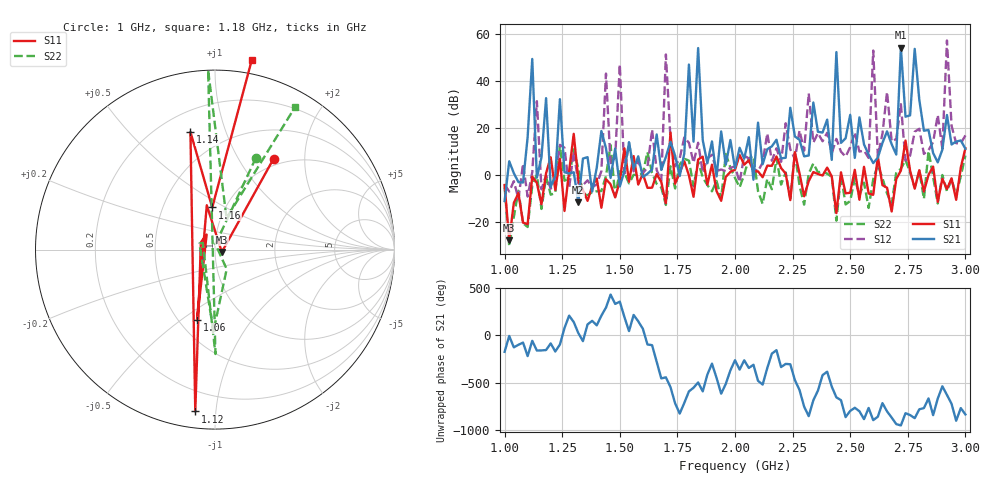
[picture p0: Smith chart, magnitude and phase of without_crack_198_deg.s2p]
# MHz S MA R 50
!  freq  S11  S21  S12  S22
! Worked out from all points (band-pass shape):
!   101 points, 1 GHz to 3 GHz, reference 50 ohm
!   highest |S21| = 54.03 dB at 2.72 GHz (marker M1); lowest = -11.8 dB at 1.32 GHz (marker M2)
!   |S21| within 3 dB of the highest: 1.838598 GHz to 1.841427 GHz (2.829 MHz wide, 0.154 % of centre); 2.439523 GHz to 2.440566 GHz (1.044 MHz wide, 0.0428 % of centre) (the widest 2 of 4)
!   lowest |S11| = -27.9 dB at 1.02 GHz (marker M3), VSWR 1.08, Z = 53.9 - j1.47 ohm
!   |S11| at or under -10 dB: 1.005 GHz to 1.05 GHz (44.8 MHz wide, 4.36 % of centre); 1.063 GHz to 1.111 GHz (47.48 MHz wide, 4.37 % of centre); 1.154 GHz to 1.164 GHz (9.558 MHz wide, 0.825 % of centre) (the widest 3 of 14)
!   |S22| runs from -30.4 to 12.6 dB; largest |S21 - S12| = 7.1e+02
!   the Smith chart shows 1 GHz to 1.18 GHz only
!   S11 on the Smith chart (normalised r, x): 1 GHz: 0.90, +1.43; 1.06 GHz: 0.61, -0.58; 1.12 GHz: 0.09, -0.88; 1.14 GHz: 0.32, +0.76; 1.16 GHz: 0.87, +0.43; 1.18 GHz: -0.09, +1.21
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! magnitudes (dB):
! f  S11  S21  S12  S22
! 1 GHz  -4.4  -11.2  -4.2  -5.0
! 1.02 GHz  -27.9  5.7  -7.2  -30.4
! 1.06 GHz  -7.8  -3.2  -10.3  -6.8
! 1.12 GHz  -0.8  49.2  1.1  -4.7
! 1.14 GHz  -3.5  -1.2  31.2  0.0
! 1.16 GHz  -12.6  7.4  -6.2  -14.6
! 1.18 GHz  0.6  32.5  -0.2  -0.8
! 1.32 GHz  -2.2  -11.8  -3.7  2.6
! 1.34 GHz  -6.5  6.9  -4.4  -8.1
! 1.5 GHz  -2.7  -5.0  46.9  1.5
! 1.52 GHz  11.2  1.6  0.5  0.9
! 1.68 GHz  -3.1  2.0  -2.6  -5.4
! 1.7 GHz  -12.1  7.6  51.1  -12.9
! 1.74 GHz  -3.8  8.1  3.6  -5.9
! 1.84 GHz  6.5  53.8  13.6  5.5
! 2 GHz  2.1  2.7  3.6  -1.4
! 2.34 GHz  1.1  30.7  13.6  4.8
! 2.58 GHz  -8.0  8.5  7.1  -14.1
! 2.6 GHz  -8.5  4.9  52.8  -1.9
! 2.68 GHz  -15.6  12.9  14.2  -12.6
! 2.72 GHz  1.7  54.0  30.0  2.5
! 3 GHz  11.2  11.0  16.7  8.1
